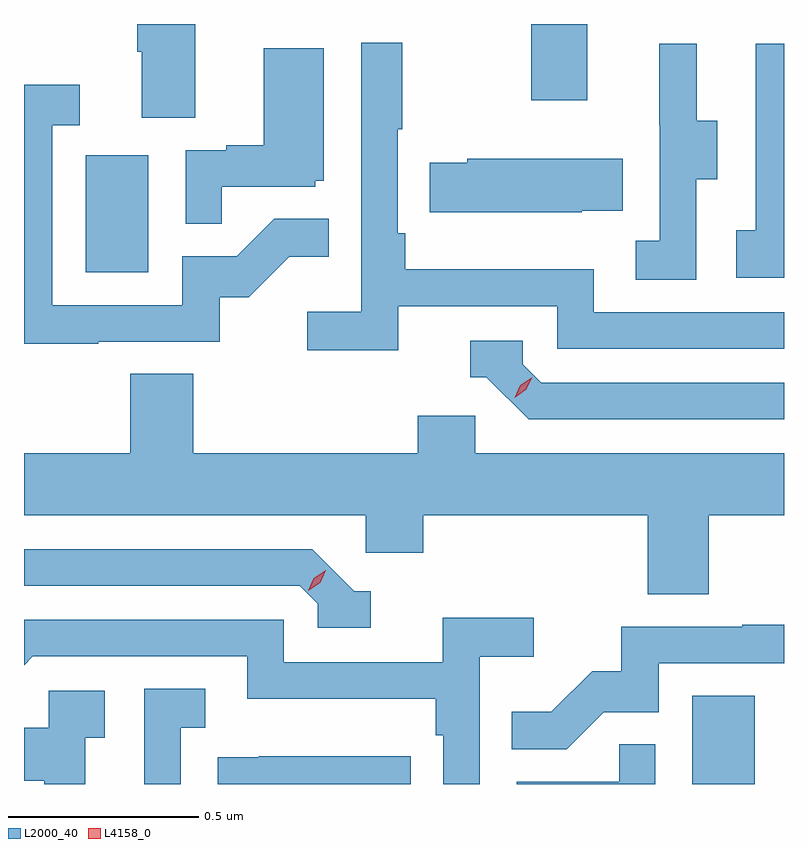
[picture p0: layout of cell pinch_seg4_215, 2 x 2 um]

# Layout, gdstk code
import gdstk
lib = gdstk.Library(unit=1e-6, precision=1e-09)
def R(c, l, rs):  # rectangles x0, y0, x1, y1
    for r in rs: c.add(gdstk.rectangle(r[:2], r[2:], *l))
def P(c, l, *ps):  # polygons
    for p in ps: c.add(gdstk.Polygon(p, *l))
L2000_40 = (2000, 40)
L4158_0 = (4158, 0)

pinch_seg4_215 = lib.new_cell('pinch_seg4_215')
R(pinch_seg4_215, L2000_40, [(1014.512,828.081,1014.676,828.313), (1012.916,829.428,1013.08,829.735), (1014.088,829.881,1014.235,830.081)])
P(pinch_seg4_215, L2000_40, [(1013.203,830.081),(1013.051,830.081),(1013.051,830.008),(1013.063,830.008),(1013.063,829.834),(1013.203,829.834)],
  [(1013.738,829.338),(1014.156,829.338),(1014.156,829.227),(1014.753,829.227),(1014.753,829.323),(1014.252,829.323),(1014.252,829.435),(1013.756,829.435),(1013.756,829.531),(1013.736,829.531),(1013.736,829.804),(1013.749,829.804),(1013.749,830.032),(1013.64,830.032),(1013.64,829.324),(1013.499,829.324),(1013.499,829.222),(1013.738,829.222)],
  [(1014.522,829.672),(1014.577,829.672),(1014.577,829.827),(1014.523,829.827),(1014.523,830.029),(1014.425,830.029),(1014.425,829.815),(1014.426,829.815),(1014.426,829.511),(1014.363,829.511),(1014.363,829.408),(1014.522,829.408)],
  [(1014.753,830.029),(1014.678,830.029),(1014.678,829.538),(1014.627,829.538),(1014.627,829.413),(1014.753,829.413)],
  [(1013.273,829.653),(1013.52,829.653),(1013.52,829.668),(1013.542,829.668),(1013.542,830.017),(1013.384,830.017),(1013.384,829.762),(1013.285,829.762),(1013.285,829.749),(1013.178,829.749),(1013.178,829.555),(1013.273,829.555)],
  [(1012.949,829.245),(1013.268,829.245),(1013.268,829.362),(1013.344,829.362),(1013.451,829.469),(1013.555,829.469),(1013.555,829.568),(1013.411,829.568),(1013.313,829.47),(1013.169,829.47),(1013.169,829.341),(1012.827,829.341),(1012.827,829.815),(1012.9,829.815),(1012.9,829.921),(1012.753,829.921),(1012.753,829.24),(1012.949,829.24)],
  [(1014.221,829.589),(1014.329,829.589),(1014.329,829.726),(1013.919,829.726),(1013.919,829.716),(1013.821,829.716),(1013.821,829.586),(1014.221,829.586)],
  [(1014.753,829.137),(1014.114,829.137),(1014.066,829.185),(1014.066,829.248),(1013.927,829.248),(1013.927,829.152),(1013.97,829.152),(1014.081,829.041),(1014.753,829.041)],
  [(1014.555,828.788),(1014.753,828.788),(1014.753,828.952),(1013.94,828.952),(1013.94,829.05),(1013.789,829.05),(1013.789,828.952),(1013.198,828.952),(1013.198,829.16),(1013.033,829.16),(1013.033,828.952),(1012.753,828.952),(1012.753,828.788),(1013.652,828.788),(1013.652,828.69),(1013.804,828.69),(1013.804,828.788),(1014.395,828.788),(1014.395,828.58),(1014.555,828.58)],
  [(1013.665,828.588),(1013.622,828.588),(1013.511,828.699),(1012.753,828.699),(1012.753,828.603),(1013.478,828.603),(1013.526,828.555),(1013.526,828.492),(1013.665,828.492)],
  [(1013.952,828.416),(1014.094,828.416),(1014.094,828.518),(1013.855,828.518),(1013.855,828.402),(1013.436,828.402),(1013.436,828.513),(1012.753,828.513),(1012.753,828.394),(1012.776,828.417),(1013.34,828.417),(1013.34,828.305),(1013.836,828.305),(1013.836,828.209),(1013.856,828.209),(1013.856,828.081),(1013.952,828.081)],
  [(1014.279,828.27),(1014.423,828.27),(1014.423,828.399),(1014.753,828.399),(1014.753,828.5),(1014.643,828.5),(1014.643,828.495),(1014.325,828.495),(1014.325,828.378),(1014.248,828.378),(1014.141,828.271),(1014.037,828.271),(1014.037,828.172),(1014.181,828.172)],
  [(1013.166,828.229),(1013.23,828.229),(1013.23,828.332),(1013.07,828.332),(1013.07,828.081),(1013.166,828.081)],
  [(1012.914,828.203),(1012.966,828.203),(1012.966,828.327),(1012.818,828.327),(1012.818,828.229),(1012.753,828.229),(1012.753,828.089),(1012.806,828.089),(1012.806,828.081),(1012.914,828.081)],
  [(1014.414,828.185),(1014.319,828.185),(1014.319,828.087),(1014.05,828.087),(1014.05,828.081),(1014.414,828.081)],
  [(1013.771,828.154),(1013.371,828.154),(1013.371,828.151),(1013.263,828.151),(1013.263,828.081),(1013.771,828.081)])
P(pinch_seg4_215, L4158_0, [(1014.044,829.098),(1014.044,829.098),(1014.059,829.131),(1014.09,829.151),(1014.09,829.151),(1014.09,829.151),(1014.074,829.118),(1014.044,829.098)],
  [(1013.501,828.589),(1013.501,828.59),(1013.516,828.623),(1013.547,828.643),(1013.547,828.643),(1013.547,828.643),(1013.532,828.61),(1013.501,828.589)])

lib.write_gds('pinch_seg4_215.gds')
